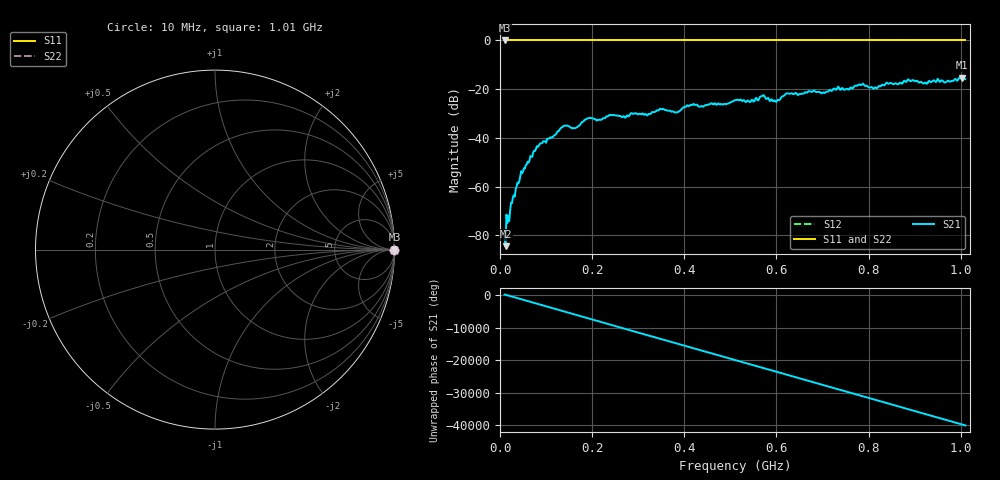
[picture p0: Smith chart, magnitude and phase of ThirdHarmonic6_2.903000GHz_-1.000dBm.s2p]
! 8/17/2025 8:01:45 AM
! C:\ANRITSUVNA\TEMP\TEMP.S2P
! CHANNEL.1
! TR.MEASUREMENT
! RAW.DATA
! RF.CORRECTION.OFF
! AVERAGING.OFF
! IF.BANDWIDTH: 5KHZ
! SWEEPTYPE:  FREQ.SWEEP(Linear)
! Reference Plane Port Info
! PORT:  PORT1  PORT2
! DISTANCE:  0  m  0  m
! TIME:  0  s  0  s
! PHASE.OFFSET:  0  deg.  0  deg.
! LOSS:  0  dB  0  dB
! REF.LOSS:  0  dB  0  dB
! REF.FREQ:  0  Hz  0  Hz
! Power Info
! POWER:  -20  dBm  -20  dBm
! EFF.POWER:  -20  dBm  -20  dBm
! SOURCE.ATTEN:  0  dB  0  dB
! TEST.ATTEN:  0  dB  0  dB
# GHZ S RI R 50.0
! FREQ.GHZ  S11RE  S11IM  S21RE  S21IM  S12RE  S12IM  S22RE  S22IM
!; PortSelection: Port_12
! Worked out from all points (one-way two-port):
!   501 points, 10 MHz to 1.01 GHz, reference 50 ohm
!   highest |S21| = -15.30 dB at 1.002 GHz (marker M1); lowest = -84.4 dB at 12 MHz (marker M2)
!   lowest |S11| = 0.0 dB at 10 MHz (marker M3)
!   |S11| at or under -10 dB: nowhere
!   |S22| runs from 0.0 to 0.0 dB; largest |S21 - S12| = 1.2
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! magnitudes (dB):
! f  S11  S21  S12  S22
! 10 MHz  0.0  -80.2  0.0  0.0
! 12 MHz  0.0  -84.4  0.0  0.0
! 26 MHz  0.0  -66.8  0.0  0.0
! 42 MHz  0.0  -57.6  0.0  0.0
! 76 MHz  0.0  -45.4  0.0  0.0
! 136 MHz  0.0  -35.5  0.0  0.0
! 162 MHz  0.0  -36.0  0.0  0.0
! 178 MHz  0.0  -33.5  0.0  0.0
! 344 MHz  0.0  -28.7  0.0  0.0
! 384 MHz  0.0  -29.5  0.0  0.0
! 416 MHz  0.0  -26.5  0.0  0.0
! 510 MHz  0.0  -24.5  0.0  0.0
! 546 MHz  0.0  -24.4  0.0  0.0
! 570 MHz  0.0  -22.6  0.0  0.0
! 596 MHz  0.0  -24.6  0.0  0.0
! 622 MHz  0.0  -21.7  0.0  0.0
! 678 MHz  0.0  -21.0  0.0  0.0
! 784 MHz  0.0  -18.4  0.0  0.0
! 814 MHz  0.0  -19.2  0.0  0.0
! 844 MHz  0.0  -17.8  0.0  0.0
! 1.002 GHz  0.0  -15.3  0.0  0.0
! 1.01 GHz  0.0  -15.9  0.0  0.0
